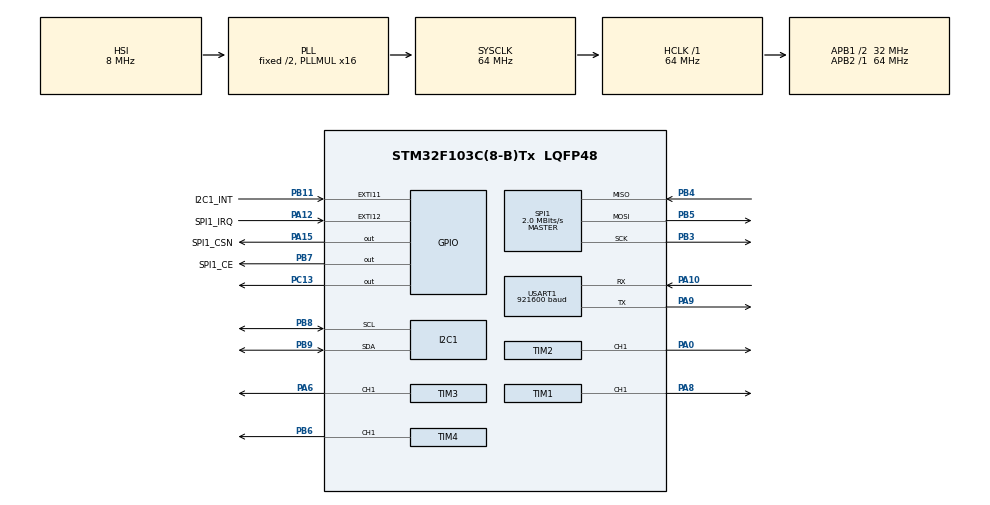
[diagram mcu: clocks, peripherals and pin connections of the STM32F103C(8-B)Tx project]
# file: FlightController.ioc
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Mcu.Family=STM32F1
Mcu.Name=STM32F103C(8-B)Tx
Mcu.Package=LQFP48
NVIC.EXTI15_10_IRQn=true\:0\:0\:false\:false\:true\:true\:true\:true
NVIC.PriorityGroup=NVIC_PRIORITYGROUP_4
NVIC.USART1_IRQn=true\:0\:0\:false\:false\:true\:true\:true\:true
PA0-WKUP.Signal=S_TIM2_CH1_ETR
PA10.Mode=Asynchronous
PA10.Signal=USART1_RX
PA12.GPIO_Label=SPI1_IRQ
PA12.GPIO_ModeDefaultEXTI=GPIO_MODE_IT_FALLING
PA12.Signal=GPXTI12
PA13.Mode=Serial_Wire
PA13.Signal=SYS_JTMS-SWDIO
PA14.Mode=Serial_Wire
PA14.Signal=SYS_JTCK-SWCLK
PA15.GPIO_Label=SPI1_CSN
PA15.GPIO_Speed=GPIO_SPEED_FREQ_HIGH
PA15.PinState=GPIO_PIN_SET
PA15.Signal=GPIO_Output
PA6.Signal=S_TIM3_CH1
PA8.Signal=S_TIM1_CH1
PA9.Mode=Asynchronous
PA9.Signal=USART1_TX
PB11.GPIO_Label=I2C1_INT
PB11.Signal=GPXTI11
PB3.Mode=Full_Duplex_Master
PB3.Signal=SPI1_SCK
PB4.Mode=Full_Duplex_Master
PB4.Signal=SPI1_MISO
PB5.Mode=Full_Duplex_Master
PB5.Signal=SPI1_MOSI
PB6.Signal=S_TIM4_CH1
PB7.GPIO_Label=SPI1_CE
PB7.GPIO_Speed=GPIO_SPEED_FREQ_HIGH
PB7.Signal=GPIO_Output
PB8.Mode=I2C
PB8.Signal=I2C1_SCL
PB9.Mode=I2C
PB9.Signal=I2C1_SDA
PC13-TAMPER-RTC.Signal=GPIO_Output
ProjectManager.HeapSize=0x200
ProjectManager.StackSize=0x400
ProjectManager.TargetToolchain=CMake
RCC.AHBFreq_Value=64000000
RCC.APB1CLKDivider=RCC_HCLK_DIV2
RCC.APB1Freq_Value=32000000
RCC.APB1TimFreq_Value=64000000
RCC.APB2Freq_Value=64000000
RCC.APB2TimFreq_Value=64000000
RCC.HCLKFreq_Value=64000000
RCC.PLLMUL=RCC_PLL_MUL16
RCC.SYSCLKFreq_VALUE=64000000
RCC.SYSCLKSource=RCC_SYSCLKSOURCE_PLLCLK
RCC.USBFreq_Value=64000000
SH.S_TIM1_CH1.0=TIM1_CH1,PWM Generation1 CH1
SH.S_TIM2_CH1_ETR.0=TIM2_CH1,PWM Generation1 CH1
SH.S_TIM3_CH1.0=TIM3_CH1,PWM Generation1 CH1
SH.S_TIM4_CH1.0=TIM4_CH1,PWM Generation1 CH1
SPI1.BaudRatePrescaler=SPI_BAUDRATEPRESCALER_32
SPI1.CalculateBaudRate=2.0 MBits/s
SPI1.Direction=SPI_DIRECTION_2LINES
SPI1.Mode=SPI_MODE_MASTER
SPI1.VirtualType=VM_MASTER
TIM1.Channel-PWM\ Generation1\ CH1=TIM_CHANNEL_1
TIM1.Period=19999
TIM1.Prescaler=63
TIM2.Channel-PWM\ Generation1\ CH1=TIM_CHANNEL_1
TIM2.Period=19999
TIM2.Prescaler=63
TIM3.Channel-PWM\ Generation1\ CH1=TIM_CHANNEL_1
TIM3.Period=19999
TIM3.Prescaler=63
TIM4.Channel-PWM\ Generation1\ CH1=TIM_CHANNEL_1
TIM4.Period=19999
TIM4.Prescaler=63
USART1.BaudRate=921600
USART1.VirtualMode=VM_ASYNC
VP_TIM1_VS_ClockSourceINT.Mode=Internal
VP_TIM2_VS_ClockSourceINT.Mode=Internal
VP_TIM3_VS_ClockSourceINT.Mode=Internal
VP_TIM4_VS_ClockSourceINT.Mode=Internal
board=custom

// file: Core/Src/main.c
/* USER CODE BEGIN Header */
/**
  ******************************************************************************
  * @file           : main.c
  * @brief          : Main program body
  ******************************************************************************
  * @attention
  *
  * Copyright (c) 2024 STMicroelectronics.
  * All rights reserved.
  *
  * This software is licensed under terms that can be found in the LICENSE file
  * in the root directory of this software component.
  * If no LICENSE file comes with this software, it is provided AS-IS.
  *
  ******************************************************************************
  */
/* USER CODE END Header */
#include "main.h"

/* USER CODE BEGIN Includes */
#include "stdio.h"
#include "string.h"
#include "Tools.h"
#include "MPU6050.h"
#include "NRF24L01P.h"
#include "MotorControl.h"
#include "PID.h"

/* USER CODE END Includes */

I2C_HandleTypeDef hi2c1;

SPI_HandleTypeDef hspi1;

TIM_HandleTypeDef htim1;
TIM_HandleTypeDef htim2;
TIM_HandleTypeDef htim3;
TIM_HandleTypeDef htim4;

UART_HandleTypeDef huart1;

/* USER CODE BEGIN PV */
// NRF24L01P
uint8_t rx_data[8];

// MPU6050
extern MPU6050_t MPU6050;
extern uint8_t MPU6050_readystatus;

// Motors Control
double Motors_Speed[4] = {BaseSpeed, BaseSpeed, BaseSpeed, BaseSpeed};
double Motors_PID_Adj[4] = {0, 0, 0, 0};

// PID
PID_t pid_roll = {0.0, 0.0, 0.0, 0.0, 0.0};
PID_t pid_pitch = {0.0, 0.0, 0.0, 0.0, 0.0};
PID_t pid_yaw = {0.0, 0.0, 0.0, 0.0, 0.0};
PID_t pid_Vz = {0.0, 0.0, 0.0, 0.0, 0.0};

/* USER CODE END PV */

void SystemClock_Config(void);
static void MX_GPIO_Init(void);
static void MX_USART1_UART_Init(void);
static void MX_I2C1_Init(void);
static void MX_SPI1_Init(void);
static void MX_TIM1_Init(void);
static void MX_TIM2_Init(void);
static void MX_TIM3_Init(void);
static void MX_TIM4_Init(void);
/* USER CODE BEGIN PFP */
void HAL_GPIO_EXTI_Callback(uint16_t GPIO_Pin);
/* USER CODE END PFP */

int main(void)
{

  /* MCU Configuration--------------------------------------------------------*/

  /* Reset of all peripherals, Initializes the Flash interface and the Systick. */
  HAL_Init();

  /* Configure the system clock */
  SystemClock_Config();

  /* Initialize all configured peripherals */
  MX_GPIO_Init();
  MX_USART1_UART_Init();
  MX_I2C1_Init();
  MX_SPI1_Init();
  MX_TIM1_Init();
  MX_TIM2_Init();
  MX_TIM3_Init();
  MX_TIM4_Init();
  /* USER CODE BEGIN 2 */
  HAL_GPIO_WritePin(GPIOC, GPIO_PIN_13, GPIO_PIN_SET);

	// Init Motors
  Motors_Init(&htim1, &htim2, &htim3, &htim4);
  Motors_SetSpeed(Motors_Speed);
  LogInformation(1001, "Motors Started!");

  // Init MPU6050
	HAL_Delay(10);
	MPU6050_Init(&hi2c1);

	// Init NRF24L01
	HAL_Delay(10);
	NRF24L01P_Rx_Init(2500, _1Mbps);

  // Init PID
  PID_Init(&pid_roll, 0.1, 0.0, 0.0);
  PID_Init(&pid_pitch, 0.1, 0.01, 0.01);
  PID_Init(&pid_yaw, 0.01, 0.001, 0.001);
  PID_Init(&pid_Vz, 0.1, 0.01, 0.01);

  // Getting ready to fly
  LogInformation(1002, "Doing Last Checks...");
  HAL_GPIO_WritePin(GPIOC, GPIO_PIN_13, GPIO_PIN_RESET);
  HAL_Delay(1000);
  HAL_GPIO_WritePin(GPIOC, GPIO_PIN_13, GPIO_PIN_SET);
  LogInformation(1001, "Drone is ready to Fly!");

  /* USER CODE END 2 */

  /* Infinite loop */
  /* USER CODE BEGIN WHILE */
  char Packet[300];

  while (1)
  {
		if (MPU6050_readystatus == 12){

      // Read Sensors Data
      MPU6050_ReadAll(&MPU6050);

      // Report Position Parameters
      memset(Packet,'\0', sizeof(Packet));
			sprintf(Packet, "Position = {\"Roll\": %.3f, \"Pitch\": %.3f, \"Gz\": %.3f, \"Vertical_Velocity\": %.3f, \"Vertical_Acc\": %.3f}", MPU6050.KalmanAngleY, MPU6050.KalmanAngleX, MPU6050.Gz, MPU6050.Vz, MPU6050.Az_ms);
      LogStringToPC(Packet);

      // Report Current Motors Speed
      memset(Packet,'\0', sizeof(Packet));
      sprintf(Packet, "MotorsSpeed = {\"Motor1\": %.3f, \"Motor2\": %.3f, \"Motor3\": %.3f, \"Motor4\": %.3f}", Motors_Speed[0], Motors_Speed[1], Motors_Speed[2], Motors_Speed[3]);
      LogStringToPC(Packet);

      // Calculate PID Values
      double pid_roll_Adj = 0;
      double pid_pitch_Adj = 0;
      double pid_yaw_Adj = 0;
      double pid_Vz_Adj = 0;

      pid_roll_Adj = PID_Compute(&pid_roll, 0, MPU6050.KalmanAngleY, LOOP_TIME);
      //pid_pitch_Adj = PID_Compute(&pid_pitch, 0, MPU6050.KalmanAngleX, LOOP_TIME);
      //pid_yaw_Adj = PID_Compute(&pid_yaw, 0, MPU6050.Gz, LOOP_TIME);
      //pid_Vz_Adj = PID_Compute(&pid_Vz, 0, MPU6050.Vz, LOOP_TIME);

      Motors_PID_Adj[0] = + pid_roll_Adj - pid_pitch_Adj - pid_yaw_Adj + pid_Vz_Adj;
      Motors_PID_Adj[1] = - pid_roll_Adj - pid_pitch_Adj + pid_yaw_Adj + pid_Vz_Adj;
      Motors_PID_Adj[2] = - pid_roll_Adj + pid_pitch_Adj - pid_yaw_Adj + pid_Vz_Adj;
      Motors_PID_Adj[3] = + pid_roll_Adj + pid_pitch_Adj + pid_yaw_Adj + pid_Vz_Adj;

      memset(Packet,'\0', sizeof(Packet));
      sprintf(Packet, "PID = {\"Adj1\": %.3f, \"Adj2\": %.3f, \"Adj3\": %.3f, \"Adj4\": %.3f}", Motors_PID_Adj[0], Motors_PID_Adj[1], Motors_PID_Adj[2], Motors_PID_Adj[3]);
      LogStringToPC(Packet);

      // write the code to adjust the Motors speeds array with result of PID system result array and using the Motors_SetSpeed function set the 4 motors speeds

      Motors_Speed[0] += Motors_PID_Adj[0];
      Motors_Speed[1] += Motors_PID_Adj[1];
      Motors_Speed[2] += Motors_PID_Adj[2];
      Motors_Speed[3] += Motors_PID_Adj[3];

      if (Motors_Speed[0] < 0) Motors_Speed[0] = 0;
      if (Motors_Speed[1] < 0) Motors_Speed[1] = 0;
      if (Motors_Speed[2] < 0) Motors_Speed[2] = 0;
      if (Motors_Speed[3] < 0) Motors_Speed[3] = 0;

      if (Motors_Speed[0] > 50) Motors_Speed[0] = 50;
      if (Motors_Speed[1] > 50) Motors_Speed[1] = 50;
      if (Motors_Speed[2] > 50) Motors_Speed[2] = 50;
      if (Motors_Speed[3] > 50) Motors_Speed[3] = 50;

      double SafetyLimit = 30;

      if (MPU6050.KalmanAngleY < SafetyLimit && MPU6050.KalmanAngleY > -SafetyLimit)
      {
        Motors_SetSpeed(Motors_Speed);
      }
      // else
      // {
      //   Motors_Speed[0] = 0;
      //   Motors_Speed[1] = 0;
      //   Motors_Speed[2] = 0;
      //   Motors_Speed[3] = 0;

      //   Motors_SetSpeed(Motors_Speed);
      // }

      // Loop Delay
      HAL_Delay(LOOP_TIME * 1000);
		}
		else
		{
			LogError(MPU6050_readystatus, "Device not initialized");
      HAL_Delay(1000);
		}
    /* USER CODE END WHILE */

  }
}

void SystemClock_Config(void)
{
  RCC_OscInitTypeDef RCC_OscInitStruct = {0};
  RCC_ClkInitTypeDef RCC_ClkInitStruct = {0};

  /** Initializes the RCC Oscillators according to the specified parameters
  * in the RCC_OscInitTypeDef structure.
  */
  RCC_OscInitStruct.OscillatorType = RCC_OSCILLATORTYPE_HSI;
  RCC_OscInitStruct.HSIState = RCC_HSI_ON;
  RCC_OscInitStruct.HSICalibrationValue = RCC_HSICALIBRATION_DEFAULT;
  RCC_OscInitStruct.PLL.PLLState = RCC_PLL_ON;
  RCC_OscInitStruct.PLL.PLLSource = RCC_PLLSOURCE_HSI_DIV2;
  RCC_OscInitStruct.PLL.PLLMUL = RCC_PLL_MUL16;
  if (HAL_RCC_OscConfig(&RCC_OscInitStruct) != HAL_OK)
  {
    Error_Handler();
  }

  /** Initializes the CPU, AHB and APB buses clocks
  */
  RCC_ClkInitStruct.ClockType = RCC_CLOCKTYPE_HCLK|RCC_CLOCKTYPE_SYSCLK
                              |RCC_CLOCKTYPE_PCLK1|RCC_CLOCKTYPE_PCLK2;
  RCC_ClkInitStruct.SYSCLKSource = RCC_SYSCLKSOURCE_PLLCLK;
  RCC_ClkInitStruct.AHBCLKDivider = RCC_SYSCLK_DIV1;
  RCC_ClkInitStruct.APB1CLKDivider = RCC_HCLK_DIV2;
  RCC_ClkInitStruct.APB2CLKDivider = RCC_HCLK_DIV1;

  if (HAL_RCC_ClockConfig(&RCC_ClkInitStruct, FLASH_LATENCY_2) != HAL_OK)
  {
    Error_Handler();
  }
}

static void MX_I2C1_Init(void)
{

  hi2c1.Instance = I2C1;
  hi2c1.Init.ClockSpeed = 100000;
  hi2c1.Init.DutyCycle = I2C_DUTYCYCLE_2;
  hi2c1.Init.OwnAddress1 = 0;
  hi2c1.Init.AddressingMode = I2C_ADDRESSINGMODE_7BIT;
  hi2c1.Init.DualAddressMode = I2C_DUALADDRESS_DISABLE;
  hi2c1.Init.OwnAddress2 = 0;
  hi2c1.Init.GeneralCallMode = I2C_GENERALCALL_DISABLE;
  hi2c1.Init.NoStretchMode = I2C_NOSTRETCH_DISABLE;
  if (HAL_I2C_Init(&hi2c1) != HAL_OK)
  {
    Error_Handler();
  }

}

static void MX_SPI1_Init(void)
{

  /* SPI1 parameter configuration*/
  hspi1.Instance = SPI1;
  hspi1.Init.Mode = SPI_MODE_MASTER;
  hspi1.Init.Direction = SPI_DIRECTION_2LINES;
  hspi1.Init.DataSize = SPI_DATASIZE_8BIT;
  hspi1.Init.CLKPolarity = SPI_POLARITY_LOW;
  hspi1.Init.CLKPhase = SPI_PHASE_1EDGE;
  hspi1.Init.NSS = SPI_NSS_SOFT;
  hspi1.Init.BaudRatePrescaler = SPI_BAUDRATEPRESCALER_32;
  hspi1.Init.FirstBit = SPI_FIRSTBIT_MSB;
  hspi1.Init.TIMode = SPI_TIMODE_DISABLE;
  hspi1.Init.CRCCalculation = SPI_CRCCALCULATION_DISABLE;
  hspi1.Init.CRCPolynomial = 10;
  if (HAL_SPI_Init(&hspi1) != HAL_OK)
  {
    Error_Handler();
  }

}

static void MX_TIM1_Init(void)
{

  TIM_ClockConfigTypeDef sClockSourceConfig = {0};
  TIM_MasterConfigTypeDef sMasterConfig = {0};
  TIM_OC_InitTypeDef sConfigOC = {0};
  TIM_BreakDeadTimeConfigTypeDef sBreakDeadTimeConfig = {0};

  htim1.Instance = TIM1;
  htim1.Init.Prescaler = 63;
  htim1.Init.CounterMode = TIM_COUNTERMODE_UP;
  htim1.Init.Period = 19999;
  htim1.Init.ClockDivision = TIM_CLOCKDIVISION_DIV1;
  htim1.Init.RepetitionCounter = 0;
  htim1.Init.AutoReloadPreload = TIM_AUTORELOAD_PRELOAD_DISABLE;
  if (HAL_TIM_Base_Init(&htim1) != HAL_OK)
  {
    Error_Handler();
  }
  sClockSourceConfig.ClockSource = TIM_CLOCKSOURCE_INTERNAL;
  if (HAL_TIM_ConfigClockSource(&htim1, &sClockSourceConfig) != HAL_OK)
  {
    Error_Handler();
  }
  if (HAL_TIM_PWM_Init(&htim1) != HAL_OK)
  {
    Error_Handler();
  }
  sMasterConfig.MasterOutputTrigger = TIM_TRGO_RESET;
  sMasterConfig.MasterSlaveMode = TIM_MASTERSLAVEMODE_DISABLE;
  if (HAL_TIMEx_MasterConfigSynchronization(&htim1, &sMasterConfig) != HAL_OK)
  {
    Error_Handler();
  }
  sConfigOC.OCMode = TIM_OCMODE_PWM1;
  sConfigOC.Pulse = 0;
  sConfigOC.OCPolarity = TIM_OCPOLARITY_HIGH;
  sConfigOC.OCNPolarity = TIM_OCNPOLARITY_HIGH;
  sConfigOC.OCFastMode = TIM_OCFAST_DISABLE;
  sConfigOC.OCIdleState = TIM_OCIDLESTATE_RESET;
  sConfigOC.OCNIdleState = TIM_OCNIDLESTATE_RESET;
  if (HAL_TIM_PWM_ConfigChannel(&htim1, &sConfigOC, TIM_CHANNEL_1) != HAL_OK)
  {
    Error_Handler();
  }
  sBreakDeadTimeConfig.OffStateRunMode = TIM_OSSR_DISABLE;
  sBreakDeadTimeConfig.OffStateIDLEMode = TIM_OSSI_DISABLE;
  sBreakDeadTimeConfig.LockLevel = TIM_LOCKLEVEL_OFF;
  sBreakDeadTimeConfig.DeadTime = 0;
  sBreakDeadTimeConfig.BreakState = TIM_BREAK_DISABLE;
  sBreakDeadTimeConfig.BreakPolarity = TIM_BREAKPOLARITY_HIGH;
  sBreakDeadTimeConfig.AutomaticOutput = TIM_AUTOMATICOUTPUT_DISABLE;
  if (HAL_TIMEx_ConfigBreakDeadTime(&htim1, &sBreakDeadTimeConfig) != HAL_OK)
  {
    Error_Handler();
  }
  HAL_TIM_MspPostInit(&htim1);

}

static void MX_TIM2_Init(void)
{

  TIM_ClockConfigTypeDef sClockSourceConfig = {0};
  TIM_MasterConfigTypeDef sMasterConfig = {0};
  TIM_OC_InitTypeDef sConfigOC = {0};

  htim2.Instance = TIM2;
  htim2.Init.Prescaler = 63;
  htim2.Init.CounterMode = TIM_COUNTERMODE_UP;
  htim2.Init.Period = 19999;
  htim2.Init.ClockDivision = TIM_CLOCKDIVISION_DIV1;
  htim2.Init.AutoReloadPreload = TIM_AUTORELOAD_PRELOAD_DISABLE;
  if (HAL_TIM_Base_Init(&htim2) != HAL_OK)
  {
    Error_Handler();
  }
  sClockSourceConfig.ClockSource = TIM_CLOCKSOURCE_INTERNAL;
  if (HAL_TIM_ConfigClockSource(&htim2, &sClockSourceConfig) != HAL_OK)
  {
    Error_Handler();
  }
  if (HAL_TIM_PWM_Init(&htim2) != HAL_OK)
  {
    Error_Handler();
  }
  sMasterConfig.MasterOutputTrigger = TIM_TRGO_RESET;
  sMasterConfig.MasterSlaveMode = TIM_MASTERSLAVEMODE_DISABLE;
  if (HAL_TIMEx_MasterConfigSynchronization(&htim2, &sMasterConfig) != HAL_OK)
  {
    Error_Handler();
  }
  sConfigOC.OCMode = TIM_OCMODE_PWM1;
  sConfigOC.Pulse = 0;
  sConfigOC.OCPolarity = TIM_OCPOLARITY_HIGH;
  sConfigOC.OCFastMode = TIM_OCFAST_DISABLE;
  if (HAL_TIM_PWM_ConfigChannel(&htim2, &sConfigOC, TIM_CHANNEL_1) != HAL_OK)
  {
    Error_Handler();
  }
  HAL_TIM_MspPostInit(&htim2);

}

static void MX_TIM3_Init(void)
{

  TIM_ClockConfigTypeDef sClockSourceConfig = {0};
  TIM_MasterConfigTypeDef sMasterConfig = {0};
  TIM_OC_InitTypeDef sConfigOC = {0};

  htim3.Instance = TIM3;
  htim3.Init.Prescaler = 63;
  htim3.Init.CounterMode = TIM_COUNTERMODE_UP;
  htim3.Init.Period = 19999;
  htim3.Init.ClockDivision = TIM_CLOCKDIVISION_DIV1;
  htim3.Init.AutoReloadPreload = TIM_AUTORELOAD_PRELOAD_DISABLE;
  if (HAL_TIM_Base_Init(&htim3) != HAL_OK)
  {
    Error_Handler();
  }
  sClockSourceConfig.ClockSource = TIM_CLOCKSOURCE_INTERNAL;
  if (HAL_TIM_ConfigClockSource(&htim3, &sClockSourceConfig) != HAL_OK)
  {
    Error_Handler();
  }
  if (HAL_TIM_PWM_Init(&htim3) != HAL_OK)
  {
    Error_Handler();
  }
  sMasterConfig.MasterOutputTrigger = TIM_TRGO_RESET;
  sMasterConfig.MasterSlaveMode = TIM_MASTERSLAVEMODE_DISABLE;
  if (HAL_TIMEx_MasterConfigSynchronization(&htim3, &sMasterConfig) != HAL_OK)
  {
    Error_Handler();
  }
  sConfigOC.OCMode = TIM_OCMODE_PWM1;
  sConfigOC.Pulse = 0;
  sConfigOC.OCPolarity = TIM_OCPOLARITY_HIGH;
  sConfigOC.OCFastMode = TIM_OCFAST_DISABLE;
  if (HAL_TIM_PWM_ConfigChannel(&htim3, &sConfigOC, TIM_CHANNEL_1) != HAL_OK)
  {
    Error_Handler();
  }
  HAL_TIM_MspPostInit(&htim3);

}

static void MX_TIM4_Init(void)
{

  TIM_ClockConfigTypeDef sClockSourceConfig = {0};
  TIM_MasterConfigTypeDef sMasterConfig = {0};
  TIM_OC_InitTypeDef sConfigOC = {0};

  htim4.Instance = TIM4;
  htim4.Init.Prescaler = 63;
  htim4.Init.CounterMode = TIM_COUNTERMODE_UP;
  htim4.Init.Period = 19999;
  htim4.Init.ClockDivision = TIM_CLOCKDIVISION_DIV1;
  htim4.Init.AutoReloadPreload = TIM_AUTORELOAD_PRELOAD_DISABLE;
  if (HAL_TIM_Base_Init(&htim4) != HAL_OK)
  {
    Error_Handler();
  }
  sClockSourceConfig.ClockSource = TIM_CLOCKSOURCE_INTERNAL;
  if (HAL_TIM_ConfigClockSource(&htim4, &sClockSourceConfig) != HAL_OK)
  {
    Error_Handler();
  }
  if (HAL_TIM_PWM_Init(&htim4) != HAL_OK)
  {
    Error_Handler();
  }
  sMasterConfig.MasterOutputTrigger = TIM_TRGO_RESET;
  sMasterConfig.MasterSlaveMode = TIM_MASTERSLAVEMODE_DISABLE;
  if (HAL_TIMEx_MasterConfigSynchronization(&htim4, &sMasterConfig) != HAL_OK)
  {
    Error_Handler();
  }
  sConfigOC.OCMode = TIM_OCMODE_PWM1;
  sConfigOC.Pulse = 0;
  sConfigOC.OCPolarity = TIM_OCPOLARITY_HIGH;
  sConfigOC.OCFastMode = TIM_OCFAST_DISABLE;
  if (HAL_TIM_PWM_ConfigChannel(&htim4, &sConfigOC, TIM_CHANNEL_1) != HAL_OK)
  {
    Error_Handler();
  }
  HAL_TIM_MspPostInit(&htim4);

}

static void MX_USART1_UART_Init(void)
{

  huart1.Instance = USART1;
  huart1.Init.BaudRate = 921600;
  huart1.Init.WordLength = UART_WORDLENGTH_8B;
  huart1.Init.StopBits = UART_STOPBITS_1;
  huart1.Init.Parity = UART_PARITY_NONE;
  huart1.Init.Mode = UART_MODE_TX_RX;
  huart1.Init.HwFlowCtl = UART_HWCONTROL_NONE;
  huart1.Init.OverSampling = UART_OVERSAMPLING_16;
  if (HAL_UART_Init(&huart1) != HAL_OK)
  {
    Error_Handler();
  }

}

static void MX_GPIO_Init(void)
{
  GPIO_InitTypeDef GPIO_InitStruct = {0};

  /* GPIO Ports Clock Enable */
  __HAL_RCC_GPIOC_CLK_ENABLE();
  __HAL_RCC_GPIOA_CLK_ENABLE();
  __HAL_RCC_GPIOB_CLK_ENABLE();

  /*Configure GPIO pin Output Level */
  HAL_GPIO_WritePin(GPIOC, GPIO_PIN_13, GPIO_PIN_RESET);

  /*Configure GPIO pin Output Level */
  HAL_GPIO_WritePin(SPI1_CSN_GPIO_Port, SPI1_CSN_Pin, GPIO_PIN_SET);

  /*Configure GPIO pin Output Level */
  HAL_GPIO_WritePin(SPI1_CE_GPIO_Port, SPI1_CE_Pin, GPIO_PIN_RESET);

  /*Configure GPIO pin : PC13 */
  GPIO_InitStruct.Pin = GPIO_PIN_13;
  GPIO_InitStruct.Mode = GPIO_MODE_OUTPUT_PP;
  GPIO_InitStruct.Pull = GPIO_NOPULL;
  GPIO_InitStruct.Speed = GPIO_SPEED_FREQ_LOW;
  HAL_GPIO_Init(GPIOC, &GPIO_InitStruct);

  /*Configure GPIO pin : I2C1_INT_Pin */
  GPIO_InitStruct.Pin = I2C1_INT_Pin;
  GPIO_InitStruct.Mode = GPIO_MODE_IT_RISING;
  GPIO_InitStruct.Pull = GPIO_NOPULL;
  HAL_GPIO_Init(I2C1_INT_GPIO_Port, &GPIO_InitStruct);

  /*Configure GPIO pin : SPI1_IRQ_Pin */
  GPIO_InitStruct.Pin = SPI1_IRQ_Pin;
  GPIO_InitStruct.Mode = GPIO_MODE_IT_FALLING;
  GPIO_InitStruct.Pull = GPIO_NOPULL;
  HAL_GPIO_Init(SPI1_IRQ_GPIO_Port, &GPIO_InitStruct);

  /*Configure GPIO pin : SPI1_CSN_Pin */
  GPIO_InitStruct.Pin = SPI1_CSN_Pin;
  GPIO_InitStruct.Mode = GPIO_MODE_OUTPUT_PP;
  GPIO_InitStruct.Pull = GPIO_NOPULL;
  GPIO_InitStruct.Speed = GPIO_SPEED_FREQ_HIGH;
  HAL_GPIO_Init(SPI1_CSN_GPIO_Port, &GPIO_InitStruct);

  /*Configure GPIO pin : SPI1_CE_Pin */
  GPIO_InitStruct.Pin = SPI1_CE_Pin;
  GPIO_InitStruct.Mode = GPIO_MODE_OUTPUT_PP;
  GPIO_InitStruct.Pull = GPIO_NOPULL;
  GPIO_InitStruct.Speed = GPIO_SPEED_FREQ_HIGH;
  HAL_GPIO_Init(SPI1_CE_GPIO_Port, &GPIO_InitStruct);

  /* EXTI interrupt init*/
  HAL_NVIC_SetPriority(EXTI15_10_IRQn, 0, 0);
  HAL_NVIC_EnableIRQ(EXTI15_10_IRQn);

}

/* USER CODE BEGIN 4 */
void HAL_GPIO_EXTI_Callback(uint16_t GPIO_Pin) {
	if (GPIO_Pin == NRF24L01P_IRQ_PIN_NUMBER){
		RCC->APB1ENR &= ~RCC_APB1ENR_I2C1EN;
		memset(rx_data, '\0', sizeof(char)* 8);
		nrf24l01p_rx_receive(rx_data); // read data when data ready flag is set
		LogFLStringToPC(rx_data, 8);
		RCC->APB1ENR |= RCC_APB1ENR_I2C1EN;
	}
}
/* USER CODE END 4 */

void Error_Handler(void)
{
  __disable_irq();
  while (1)
  {
  }
}
